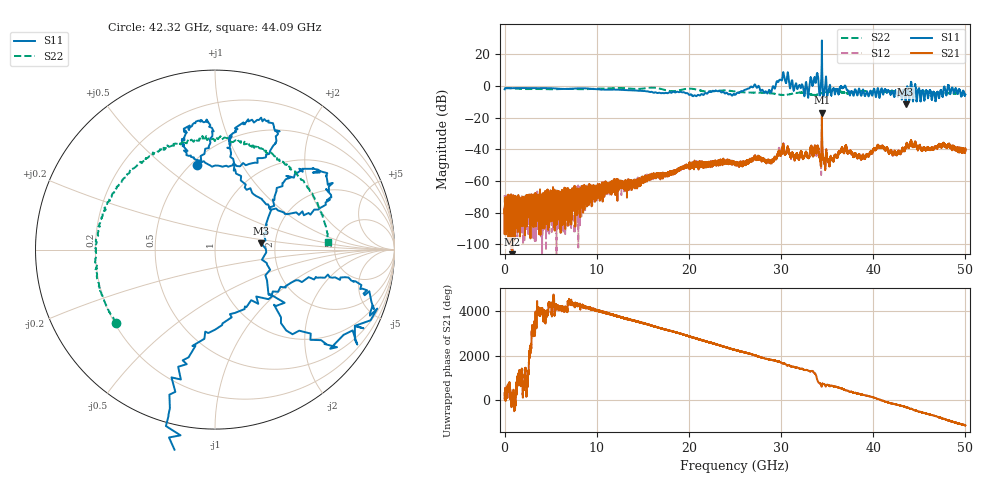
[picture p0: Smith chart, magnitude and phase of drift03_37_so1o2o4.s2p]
!Created with skrf (http://scikit-rf.org).
# Hz S RI R 50.0
!freq ReS11 ImS11 ReS21 ImS21 ReS12 ImS12 ReS22 ImS22
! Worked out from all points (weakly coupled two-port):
!   10000 points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, 5.3 MHz to 50 GHz, reference 50 ohm
!   highest |S21| = -16.94 dB at 34.43 GHz (marker M1); lowest = -111.6 dB at 815.3 MHz (marker M2)
!   lowest |S11| = -11.7 dB at 43.52 GHz (marker M3), VSWR 1.70, Z = 84.4 + j6.44 ohm
!   |S11| at or under -10 dB: 43.49115 GHz to 43.54293 GHz (51.78 MHz wide, 0.119 % of centre); 43.54965 GHz to 43.55025 GHz (595.4 kHz wide, 0.00137 % of centre)
!   |S22| runs from -5.9 to -1.1 dB; largest |S21 - S12| = 0.04
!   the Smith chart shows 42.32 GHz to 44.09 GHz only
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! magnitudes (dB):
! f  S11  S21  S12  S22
! 5.3 MHz  -2.1  -77.5  -69.0  -1.3
! 815.3 MHz  -1.4  -111.6  -70.7  -1.5
! 5.08 GHz  -1.5  -77.5  -68.4  -2.1
! 8.34 GHz  -1.5  -71.8  -66.9  -2.1
! 16.67 GHz  -4.4  -55.8  -57.8  -1.5
! 20.23 GHz  -5.3  -50.0  -49.3  -1.8
! 25.01 GHz  -5.5  -48.9  -50.2  -3.5
! 27.02 GHz  -0.3  -45.2  -45.6  -4.2
! 28.72 GHz  -2.5  -48.2  -48.4  -4.5
! 30.14 GHz  4.4  -39.8  -40.9  -5.7
! 32.74 GHz  2.0  -42.5  -42.2  -4.6
! 33.34 GHz  2.6  -40.5  -39.9  -5.5
! 33.82 GHz  4.0  -41.8  -42.2  -5.7
! 34.43 GHz  28.8  -16.9  -18.9  -4.6
! 35.3 GHz  0.6  -48.0  -47.2  -3.4
! 36.84 GHz  -0.6  -41.7  -41.5  -4.3
! 38.88 GHz  -2.4  -44.8  -44.1  -3.2
! 40.63 GHz  -5.9  -38.4  -38.7  -4.0
! 41.67 GHz  -3.0  -41.6  -42.4  -3.3
! 43.52 GHz  -11.7  -38.4  -39.2  -4.2
! 48.32 GHz  -4.4  -39.1  -37.7  -4.5
! 50 GHz  -5.4  -40.3  -41.7  -4.6
